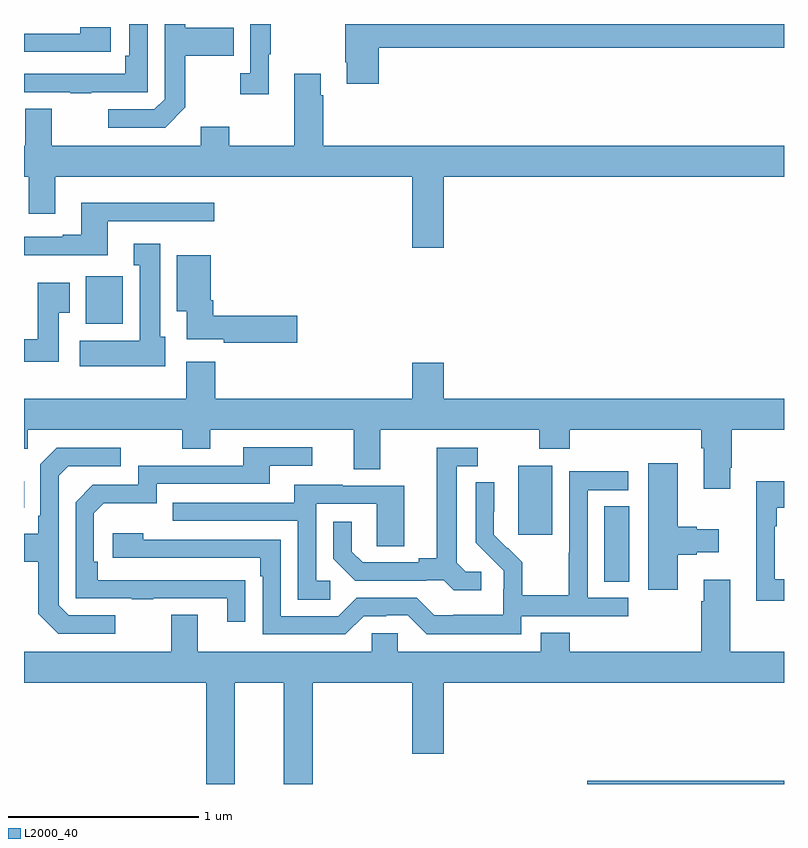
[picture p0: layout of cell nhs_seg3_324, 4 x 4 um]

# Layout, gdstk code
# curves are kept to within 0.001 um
import gdstk
lib = gdstk.Library(unit=1e-6, precision=1e-09)
def R(c, l, rs):  # rectangles x0, y0, x1, y1
    for r in rs: c.add(gdstk.rectangle(r[:2], r[2:], *l))
def P(c, l, *ps):  # polygons
    for p in ps: c.add(gdstk.Polygon(p, *l))
L2000_40 = (2000, 40)

nhs_seg3_324 = lib.new_cell('nhs_seg3_324')
R(nhs_seg3_324, L2000_40, [(129.965,684.4,131,684.416), (130.055,685.465,130.186,685.862), (129.602,685.713,129.781,686.074), (127,685.853,127.001,685.993), (127.325,686.822,127.521,687.073)])
P(nhs_seg3_324, L2000_40, [(127.849,687.961),(127.849,688.234),(128.105,688.234),(128.105,688.381),(127.849,688.381),(127.849,688.4),(127.74,688.4),(127.74,688.005),(127.686,687.951),(127.443,687.951),(127.443,687.855),(127.743,687.855)],
  [(128.287,688.241),(128.299,688.241),(128.299,688.4),(128.19,688.4),(128.19,688.142),(128.139,688.142),(128.139,688.029),(128.287,688.029)],
  [(128.867,688.276),(131,688.276),(131,688.4),(128.692,688.4),(128.692,688.198),(128.699,688.198),(128.699,688.086),(128.867,688.086)],
  [(127.355,688.041),(127.65,688.041),(127.65,688.4),(127.554,688.4),(127.554,688.234),(127.534,688.234),(127.534,688.137),(127,688.137),(127,688.041),(127.243,688.041),(127.243,688.036),(127.355,688.036)],
  [(127.456,688.384),(127.295,688.384),(127.295,688.35),(127,688.35),(127,688.254),(127.456,688.254)],
  [(129.208,687.596),(131,687.596),(131,687.76),(128.576,687.76),(128.576,688.025),(128.563,688.025),(128.563,688.138),(128.423,688.138),(128.423,687.76),(128.079,687.76),(128.079,687.859),(127.931,687.859),(127.931,687.76),(127.147,687.76),(127.147,687.955),(127.007,687.955),(127.007,687.76),(127,687.76),(127,687.596),(127.025,687.596),(127.025,687.402),(127.165,687.402),(127.165,687.596),(129.044,687.596),(129.044,687.222),(129.208,687.222)],
  [(127.441,687.363),(128.002,687.363),(128.002,687.46),(127.301,687.46),(127.301,687.292),(127.205,687.292),(127.205,687.279),(127,687.279),(127,687.182),(127.441,687.182)],
  [(127.744,686.754),(127.717,686.754),(127.717,687.244),(127.577,687.244),(127.577,687.131),(127.61,687.131),(127.61,686.734),(127.293,686.734),(127.293,686.6),(127.744,686.6)],
  [(128.437,686.864),(127.997,686.864),(127.997,686.947),(127.984,686.947),(127.984,687.184),(127.805,687.184),(127.805,686.888),(127.856,686.888),(127.856,686.741),(128.052,686.741),(128.052,686.722),(128.437,686.722)],
  [(127.183,686.881),(127.24,686.881),(127.24,687.037),(127.073,687.037),(127.073,686.74),(127,686.74),(127,686.622),(127.183,686.622)],
  [(130.717,686.065),(130.725,686.065),(130.725,686.264),(131,686.264),(131,686.428),(129.208,686.428),(129.208,686.617),(129.044,686.617),(129.044,686.428),(128.006,686.428),(128.006,686.623),(127.853,686.623),(127.853,686.428),(127,686.428),(127,686.165),(127.02,686.165),(127.02,686.264),(127.834,686.264),(127.834,686.165),(127.981,686.165),(127.981,686.264),(128.735,686.264),(128.735,686.056),(128.875,686.056),(128.875,686.264),(129.712,686.264),(129.712,686.165),(129.872,686.165),(129.872,686.264),(130.565,686.264),(130.565,686.168),(130.577,686.168),(130.577,685.953),(130.717,685.953)],
  [(128.165,685.472),(127.388,685.473),(127.388,685.57),(127.368,685.57),(127.368,685.824),(127.421,685.877),(127.698,685.877),(127.698,685.98),(128.293,685.98),(128.293,686.076),(128.518,686.076),(128.518,686.172),(128.153,686.172),(128.153,686.076),(127.602,686.076),(127.602,685.974),(127.362,685.974),(127.272,685.884),(127.272,685.377),(127.567,685.377),(127.567,685.372),(127.679,685.372),(127.679,685.377),(128.069,685.377),(128.069,685.254),(128.165,685.254)],
  [(127.48,685.287),(127.236,685.287),(127.182,685.341),(127.182,686.022),(127.233,686.073),(127.51,686.073),(127.51,686.169),(127.173,686.169),(127.086,686.082),(127.086,685.813),(127.074,685.813),(127.074,685.717),(127,685.717),(127,685.57),(127.074,685.57),(127.074,685.297),(127.179,685.191),(127.48,685.191)],
  [(129.406,685.518),(129.324,685.518),(129.277,685.565),(129.277,686.073),(129.388,686.073),(129.388,686.169),(129.173,686.169),(129.173,685.589),(129.077,685.589),(129.077,685.566),(128.782,685.566),(128.725,685.623),(128.725,685.78),(128.628,685.78),(128.628,685.586),(128.744,685.47),(129.116,685.47),(129.116,685.473),(129.21,685.473),(129.262,685.421),(129.406,685.421)],
  [(130.441,685.607),(130.541,685.607),(130.541,685.619),(130.657,685.619),(130.657,685.741),(130.541,685.741),(130.541,685.754),(130.441,685.754),(130.441,686.089),(130.286,686.089),(130.286,685.422),(130.441,685.422)],
  [(129.618,685.284),(130.18,685.284),(130.18,685.38),(129.966,685.38),(129.966,685.947),(130.18,685.947),(130.18,686.046),(129.87,686.046),(129.87,685.616),(129.868,685.616),(129.868,685.393),(129.623,685.393),(129.623,685.567),(129.546,685.644),(129.543,685.641),(129.473,685.712),(129.474,685.988),(129.378,685.988),(129.378,685.67),(129.524,685.522),(129.524,685.425),(129.522,685.425),(129.522,685.291),(129.259,685.291),(129.259,685.287),(129.159,685.287),(129.066,685.38),(128.751,685.38),(128.655,685.284),(128.352,685.284),(128.352,685.686),(127.628,685.686),(127.628,685.72),(127.467,685.72),(127.467,685.59),(128.243,685.59),(128.243,685.493),(128.256,685.493),(128.256,685.188),(128.691,685.188),(128.787,685.284),(128.906,685.284),(128.906,685.287),(129.021,685.287),(129.121,685.187),(129.618,685.187)],
  [(131,685.478),(130.95,685.478),(130.95,685.757),(130.963,685.757),(130.963,685.853),(131,685.853),(131,685.993),(130.853,685.993),(130.853,685.365),(131,685.365)],
  [(128.611,685.47),(128.538,685.47),(128.538,685.875),(128.856,685.875),(128.856,685.651),(129.001,685.651),(129.001,685.971),(128.677,685.971),(128.677,685.975),(128.423,685.975),(128.423,685.881),(127.783,685.881),(127.783,685.785),(128.442,685.785),(128.442,685.369),(128.611,685.369)],
  [(128.11,684.932),(128.366,684.932),(128.366,684.4),(128.519,684.4),(128.519,684.932),(129.044,684.932),(129.044,684.558),(129.208,684.558),(129.208,684.932),(131,684.932),(131,685.096),(130.717,685.096),(130.717,685.474),(130.577,685.474),(130.577,685.361),(130.565,685.361),(130.565,685.096),(129.872,685.096),(129.872,685.195),(129.719,685.195),(129.719,685.096),(128.967,685.096),(128.967,685.194),(128.829,685.194),(128.829,685.096),(127.915,685.096),(127.915,685.291),(127.775,685.291),(127.775,685.096),(127,685.096),(127,684.932),(127.958,684.932),(127.958,684.4),(128.11,684.4)])

lib.write_gds('nhs_seg3_324.gds')
